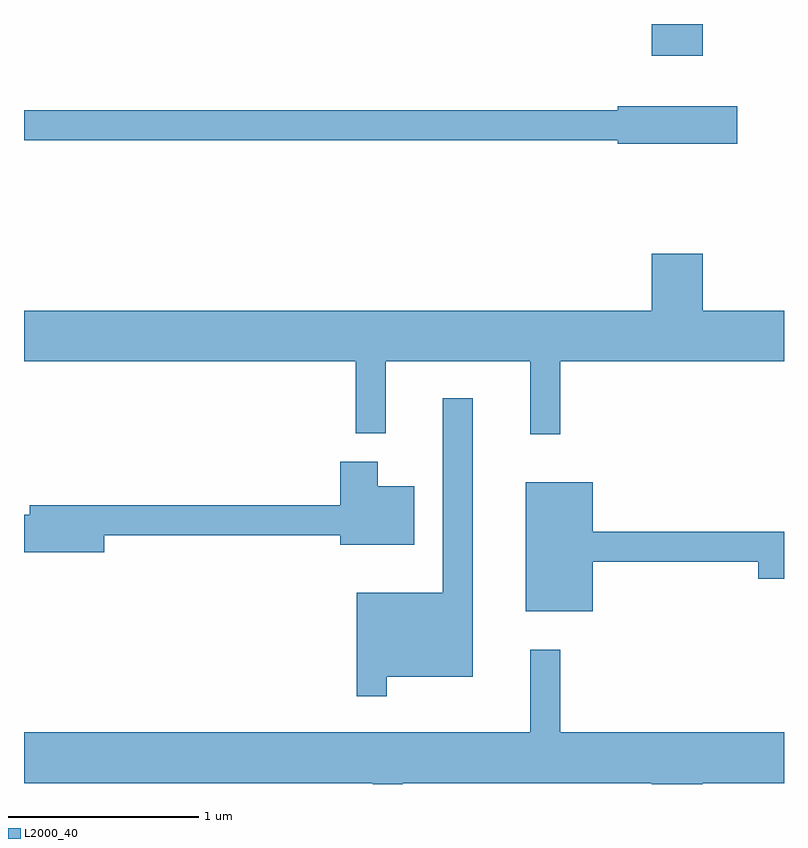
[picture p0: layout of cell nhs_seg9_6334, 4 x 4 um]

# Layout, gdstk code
import gdstk
lib = gdstk.Library(unit=1e-6, precision=1e-09)
def R(c, l, rs):  # rectangles x0, y0, x1, y1
    for r in rs: c.add(gdstk.rectangle(r[:2], r[2:], *l))
def P(c, l, *ps):  # polygons
    for p in ps: c.add(gdstk.Polygon(p, *l))
L2000_40 = (2000, 40)

nhs_seg9_6334 = lib.new_cell('nhs_seg9_6334')
R(nhs_seg9_6334, L2000_40, [(374.916,2042.266,375.184,2042.432)])
P(nhs_seg9_6334, L2000_40, [(375.364,2041.999),(374.736,2041.999),(374.736,2041.979),(371.611,2041.979),(371.611,2041.821),(374.736,2041.821),(374.736,2041.801),(375.364,2041.801)],
  [(374.434,2040.656),(375.611,2040.656),(375.611,2040.924),(375.184,2040.924),(375.184,2041.224),(374.916,2041.224),(374.916,2040.924),(371.611,2040.924),(371.611,2040.656),(373.356,2040.656),(373.356,2040.278),(373.514,2040.278),(373.514,2040.656),(374.276,2040.656),(374.276,2040.273),(374.434,2040.273)],
  [(373.519,2038.996),(373.974,2038.996),(373.974,2040.463),(373.816,2040.463),(373.816,2039.439),(373.361,2039.439),(373.361,2038.893),(373.519,2038.893)],
  [(372.034,2039.741),(373.276,2039.741),(373.276,2039.691),(373.664,2039.691),(373.664,2039.999),(373.474,2039.999),(373.474,2040.129),(373.276,2040.129),(373.276,2039.899),(371.641,2039.899),(371.641,2039.849),(371.611,2039.849),(371.611,2039.651),(372.034,2039.651)],
  [(374.604,2039.601),(375.476,2039.601),(375.476,2039.511),(375.611,2039.511),(375.611,2039.759),(374.604,2039.759),(374.604,2040.019),(374.251,2040.019),(374.251,2039.341),(374.604,2039.341)],
  [(373.604,2038.436),(374.916,2038.436),(374.916,2038.432),(375.184,2038.432),(375.184,2038.436),(375.611,2038.436),(375.611,2038.704),(374.434,2038.704),(374.434,2039.138),(374.276,2039.138),(374.276,2038.704),(371.611,2038.704),(371.611,2038.436),(373.446,2038.436),(373.446,2038.432),(373.604,2038.432)])

lib.write_gds('nhs_seg9_6334.gds')
